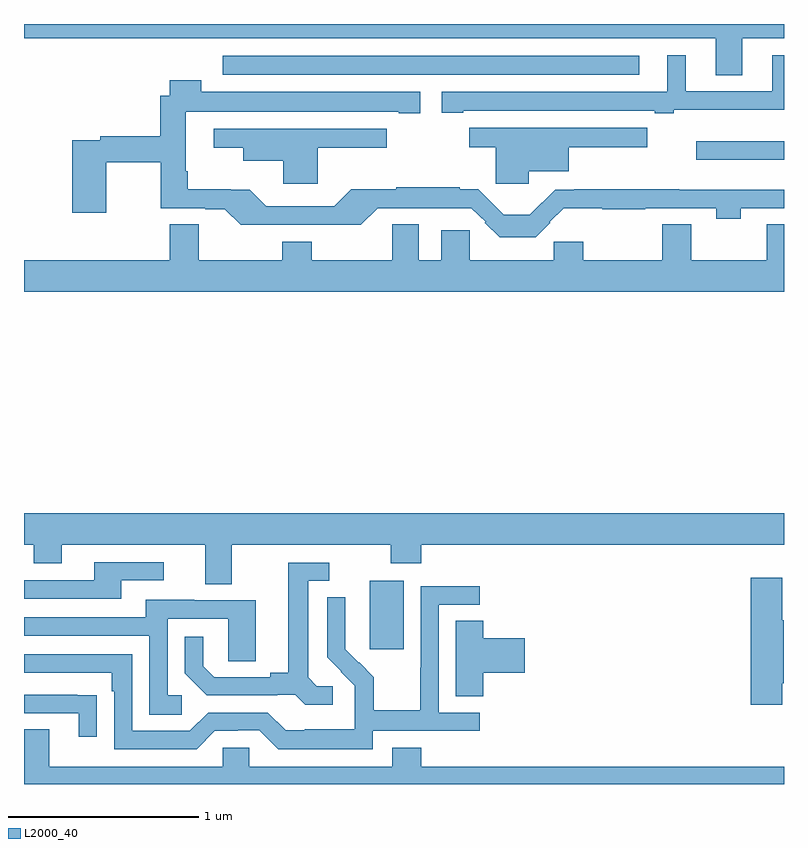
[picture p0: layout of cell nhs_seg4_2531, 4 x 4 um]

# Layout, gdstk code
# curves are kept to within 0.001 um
import gdstk
lib = gdstk.Library(unit=1e-6, precision=1e-09)
def R(c, l, rs):  # rectangles x0, y0, x1, y1
    for r in rs: c.add(gdstk.rectangle(r[:2], r[2:], *l))
def P(c, l, *ps):  # polygons
    for p in ps: c.add(gdstk.Polygon(p, *l))
L2000_40 = (2000, 40)

nhs_seg4_2531 = lib.new_cell('nhs_seg4_2531')
R(nhs_seg4_2531, L2000_40, [(244.82,789.609,244.999,789.97), (246.537,792.185,247,792.283), (244.047,792.632,246.238,792.733)])
P(nhs_seg4_2531, L2000_40, [(246.781,792.824),(247,792.824),(247,792.9),(243,792.9),(243,792.824),(246.641,792.824),(246.641,792.631),(246.781,792.631)],
  [(246.42,792.449),(247,792.449),(247,792.736),(246.938,792.736),(246.938,792.546),(246.484,792.546),(246.484,792.736),(246.386,792.736),(246.386,792.544),(245.199,792.544),(245.199,792.433),(245.311,792.433),(245.311,792.443),(246.32,792.443),(246.32,792.431),(246.42,792.431)],
  [(245.77,791.855),(245.768,791.858),(245.84,791.93),(246.044,791.93),(246.044,791.926),(246.269,791.926),(246.269,791.931),(246.643,791.931),(246.643,791.876),(246.772,791.876),(246.772,791.931),(247,791.931),(247,792.028),(246.449,792.028),(246.449,792.03),(245.896,792.03),(245.896,792.027),(245.795,792.027),(245.663,791.895),(245.526,791.895),(245.392,792.03),(245.294,792.03),(245.294,792.04),(244.96,792.04),(244.96,792.03),(244.722,792.03),(244.632,791.94),(244.276,791.94),(244.188,792.028),(244.088,792.028),(244.088,792.03),(243.863,792.03),(243.863,792.124),(243.85,792.124),(243.85,792.437),(244.973,792.437),(244.973,792.43),(245.086,792.43),(245.086,792.544),(243.932,792.544),(243.932,792.604),(243.767,792.604),(243.767,792.523),(243.716,792.523),(243.716,792.308),(243.4,792.308),(243.4,792.288),(243.254,792.288),(243.254,791.907),(243.432,791.907),(243.432,792.172),(243.721,792.172),(243.721,791.931),(243.953,791.931),(243.953,791.926),(244.057,791.926),(244.14,791.843),(244.773,791.843),(244.861,791.931),(245.355,791.931),(245.429,791.858),(245.426,791.855),(245.503,791.777),(245.693,791.777)],
  [(245.657,792.125),(245.866,792.125),(245.866,792.251),(246.28,792.251),(246.28,792.355),(245.343,792.355),(245.343,792.251),(245.482,792.251),(245.482,792.06),(245.657,792.06)],
  [(244.547,792.25),(244.909,792.25),(244.909,792.348),(243.999,792.348),(243.999,792.25),(244.154,792.25),(244.154,792.179),(244.364,792.179),(244.364,792.06),(244.547,792.06)],
  [(247,791.846),(246.91,791.846),(246.91,791.656),(246.513,791.656),(246.513,791.846),(246.358,791.846),(246.358,791.656),(245.943,791.656),(245.943,791.754),(245.789,791.754),(245.789,791.656),(245.346,791.656),(245.346,791.815),(245.195,791.815),(245.195,791.656),(245.077,791.656),(245.077,791.846),(244.937,791.846),(244.937,791.656),(244.515,791.656),(244.515,791.755),(244.36,791.755),(244.36,791.656),(243.919,791.656),(243.919,791.846),(243.767,791.846),(243.767,791.656),(243,791.656),(243,791.492),(247,791.492)],
  [(244.093,790.16),(244.93,790.16),(244.93,790.061),(245.09,790.061),(245.09,790.16),(247,790.16),(247,790.324),(243,790.324),(243,790.16),(243.052,790.16),(243.052,790.061),(243.199,790.061),(243.199,790.16),(243.953,790.16),(243.953,789.952),(244.093,789.952)],
  [(243.511,789.972),(243.736,789.972),(243.736,790.068),(243.371,790.068),(243.371,789.972),(243,789.972),(243,789.876),(243.511,789.876)],
  [(244.624,789.414),(244.542,789.414),(244.495,789.461),(244.495,789.969),(244.606,789.969),(244.606,790.065),(244.391,790.065),(244.391,789.485),(244.295,789.485),(244.295,789.462),(244,789.462),(243.943,789.519),(243.943,789.676),(243.846,789.676),(243.846,789.482),(243.962,789.366),(244.334,789.366),(244.334,789.369),(244.428,789.369),(244.48,789.317),(244.624,789.317)],
  [(246.991,789.43),(246.999,789.43),(246.999,789.761),(246.991,789.761),(246.991,789.985),(246.824,789.985),(246.824,789.318),(246.991,789.318)],
  [(244.836,789.18),(245.398,789.18),(245.398,789.276),(245.184,789.276),(245.184,789.843),(245.398,789.843),(245.398,789.942),(245.088,789.942),(245.088,789.512),(245.086,789.512),(245.086,789.289),(244.841,789.289),(244.841,789.463),(244.764,789.54),(244.761,789.537),(244.691,789.608),(244.692,789.884),(244.596,789.884),(244.596,789.566),(244.742,789.418),(244.742,789.321),(244.74,789.321),(244.74,789.187),(244.477,789.187),(244.477,789.183),(244.377,789.183),(244.284,789.276),(243.969,789.276),(243.873,789.18),(243.57,789.18),(243.57,789.582),(243,789.582),(243,789.486),(243.461,789.486),(243.461,789.389),(243.474,789.389),(243.474,789.084),(243.909,789.084),(244.005,789.18),(244.124,789.18),(244.124,789.183),(244.239,789.183),(244.339,789.083),(244.836,789.083)],
  [(243.829,789.366),(243.756,789.366),(243.756,789.771),(244.074,789.771),(244.074,789.547),(244.219,789.547),(244.219,789.867),(243.895,789.867),(243.895,789.871),(243.641,789.871),(243.641,789.777),(243.001,789.777),(243.001,789.681),(243.66,789.681),(243.66,789.265),(243.829,789.265)],
  [(245.417,789.485),(245.635,789.485),(245.635,789.668),(245.417,789.668),(245.417,789.758),(245.273,789.758),(245.273,789.361),(245.417,789.361)],
  [(243.383,789.368),(243.281,789.368),(243.281,789.369),(243,789.369),(243,789.273),(243.287,789.273),(243.287,789.15),(243.383,789.15)],
  [(247,788.992),(245.09,788.992),(245.09,789.091),(244.937,789.091),(244.937,788.992),(244.185,788.992),(244.185,789.09),(244.047,789.09),(244.047,788.992),(243.133,788.992),(243.133,789.187),(243,789.187),(243,788.9),(247,788.9)])

lib.write_gds('nhs_seg4_2531.gds')
